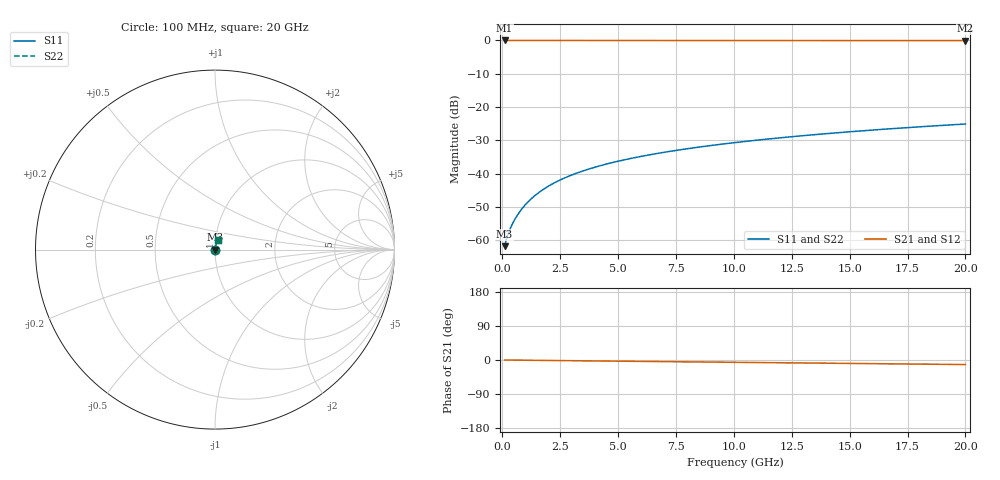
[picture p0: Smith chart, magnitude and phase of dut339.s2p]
! Touchstone file exported from HFSS 2026.1.0
!  File:  C:/ffzhzh/LocalFiles/Ansys_Project_Files/temp_train_BSMRDL_339_1783011153_53980.aedt
!  Generated:  12:53:56 AM Jul  3, 2026
!  Design:  BSMRDL
!  Project:  temp_train_BSMRDL_339_1783011153_53980
! Variables:
!  h_bsmrdl = 4.94um
!  h_ox = 20um
!  h_rdl = 5um
!  h_sub = 80um
!  h_tmrdl = 5um
!  h_tsv = 80um
!  h_via = 3um
!  l_bsmrdl = 186.13um
!  l_sub = 586.13um
!  l_tmrdl = 200um
!  m_sub = 200um
!  pitch = 37.56um
!  r_tsv = 6um
!  s_tmrdl = 10um
!  w_bsmrdl = 26.95um
!  w_sub = 500um
!  w_tmrdl = 12um
!  x_tsv_center1 = 206um
!  x_tsv_center2 = 419.08um
!  x_tsv_center3 = 631.08um
!  x_tsv_center4 = 844.16um
!  x_tsv_center5 = 1056.16um
!  x_tsv_center6 = 1269.24um
# GHz S MA R 50.000000
! Terminal data exported
! Port[1] = BSM_RDL1_1_T1
! Port[2] = BSM_RDL1_1_T2
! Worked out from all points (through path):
!   200 points, 100 MHz to 20 GHz, reference 50 ohm
!   highest |S21| = -0.01 dB at 100 MHz (marker M1); lowest = -0.1 dB at 20 GHz (marker M2)
!   group delay of S21, straight-line fit = 1.66 ps
!   lowest |S11| = -61.8 dB at 100 MHz (marker M3), VSWR 1.00, Z = 50.1 + j0.0429 ohm
!   |S11| at or under -10 dB: start of sweep to end of sweep
!   |S22| runs from -61.8 to -25.1 dB; largest |S21 - S12| = 6.4e-15
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0.1  0.000814 31.7  0.9993 -0.1  0.9993 -0.1  0.000814 31.7
! Gamma 0 0 0 0
! Port Impedance 50 0 50 0
0.2  0.001103 45.4  0.9992 -0.1  0.9992 -0.1  0.001103 45.4
0.3  0.001382 52.8  0.9992 -0.2  0.9992 -0.2  0.001382 52.8
0.4  0.001658 58.1  0.9991 -0.3  0.9991 -0.3  0.001658 58.1
0.5  0.001939 62.1  0.9991 -0.3  0.9991 -0.3  0.001939 62.1
0.6  0.002226 65.2  0.9991 -0.4  0.9991 -0.4  0.002226 65.2
0.8  0.002817 69.7  0.999 -0.5  0.999 -0.5  0.002817 69.7
1  0.003424 72.6  0.999 -0.6  0.999 -0.6  0.003424 72.6
1.2  0.004038 74.6  0.999 -0.8  0.999 -0.8  0.004038 74.6
1.4  0.004655 75.9  0.9989 -0.9  0.9989 -0.9  0.004655 75.9
1.7  0.005583 77.3  0.9989 -1.1  0.9989 -1.1  0.005583 77.3
2.2  0.007122 78.5  0.9987 -1.4  0.9987 -1.4  0.007122 78.5
2.8  0.008942 79.1  0.9985 -1.7  0.9985 -1.7  0.008942 79.1
3.5  0.01102 79.4  0.9983 -2.2  0.9983 -2.2  0.01102 79.4
4.2  0.01306 79.4  0.9981 -2.6  0.9981 -2.6  0.01306 79.4
5  0.01535 79.2  0.9978 -3.1  0.9978 -3.1  0.01535 79.2
6.8  0.02039 78.8  0.9973 -4.2  0.9973 -4.2  0.02039 78.8
8.3  0.02451 78.4  0.9969 -5.1  0.9969 -5.1  0.02451 78.4
10.1  0.0294 77.7  0.9964 -6.1  0.9964 -6.1  0.0294 77.7
13.4  0.03825 76.4  0.9956 -8.1  0.9956 -8.1  0.03825 76.4
16.7  0.04699 74.9  0.9948 -10.1  0.9948 -10.1  0.04699 74.9
20  0.05561 73.3  0.9939 -12.0  0.9939 -12.0  0.05561 73.3
